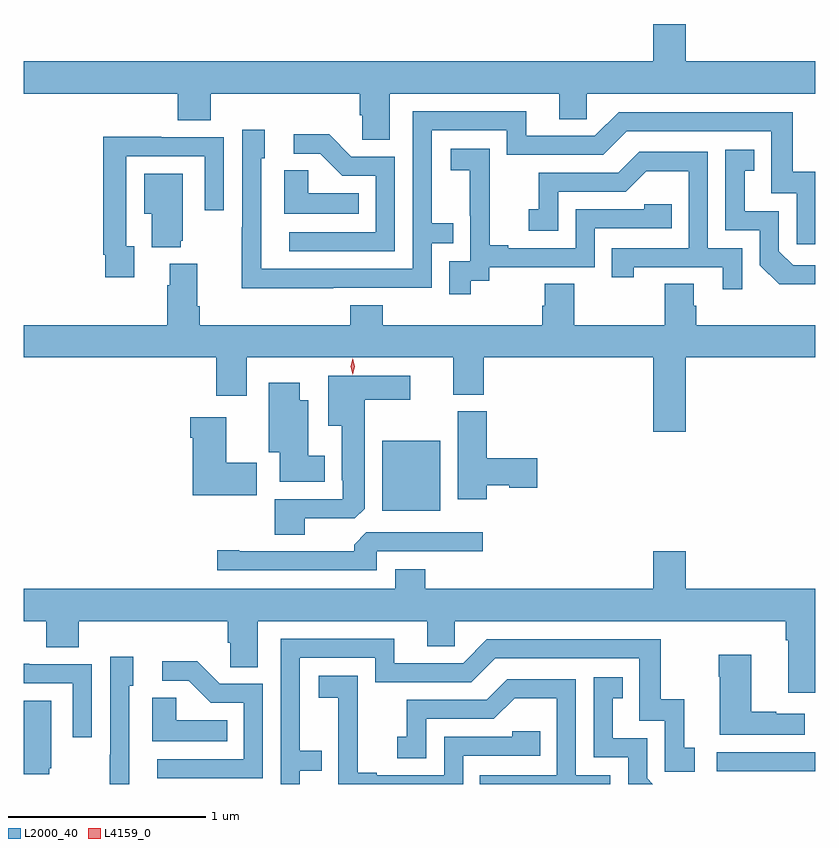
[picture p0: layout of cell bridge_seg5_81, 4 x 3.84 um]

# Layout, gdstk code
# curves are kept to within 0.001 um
import gdstk
lib = gdstk.Library(unit=1e-6, precision=1e-09)
def R(c, l, rs):  # rectangles x0, y0, x1, y1
    for r in rs: c.add(gdstk.rectangle(r[:2], r[2:], *l))
def P(c, l, *ps):  # polygons
    for p in ps: c.add(gdstk.Polygon(p, *l))
L2000_40 = (2000, 40)
L4159_0 = (4159, 0)

bridge_seg5_81 = lib.new_cell('bridge_seg5_81')
R(bridge_seg5_81, L2000_40, [(129.363,898.626,129.862,898.722), (127.673,899.942,127.966,900.295)])
P(bridge_seg5_81, L2000_40, [(127.711,902.048),(128.567,902.048),(128.567,901.921),(128.706,901.921),(128.706,902.048),(129.862,902.048),(129.862,902.212),(129.208,902.212),(129.208,902.401),(129.044,902.401),(129.044,902.212),(125.862,902.212),(125.862,902.048),(126.641,902.048),(126.641,901.915),(126.806,901.915),(126.806,902.048),(127.559,902.048),(127.559,901.939),(127.572,901.939),(127.572,901.816),(127.711,901.816)],
  [(127.427,901.068),(127.923,901.068),(127.923,901.293),(128.033,901.293),(128.033,901.394),(127.923,901.394),(127.923,901.863),(128.304,901.863),(128.304,901.74),(128.79,901.74),(128.91,901.86),(129.639,901.86),(129.639,901.545),(129.768,901.545),(129.768,901.287),(129.862,901.287),(129.862,901.654),(129.748,901.654),(129.748,901.956),(128.868,901.956),(128.748,901.836),(128.401,901.836),(128.401,901.959),(127.827,901.959),(127.827,901.164),(127.062,901.164),(127.062,901.722),(127.081,901.722),(127.081,901.867),(126.966,901.867),(126.966,901.373),(126.964,901.373),(126.964,901.067)],
  [(127.737,901.731),(127.518,901.731),(127.405,901.844),(127.227,901.844),(127.227,901.746),(127.361,901.746),(127.472,901.635),(127.641,901.635),(127.641,901.35),(127.203,901.35),(127.203,901.254),(127.737,901.254)],
  [(126.421,901.278),(126.381,901.278),(126.381,901.734),(126.777,901.734),(126.777,901.461),(126.873,901.461),(126.873,901.83),(126.557,901.83),(126.557,901.832),(126.265,901.832),(126.265,901.234),(126.273,901.234),(126.273,901.122),(126.421,901.122)],
  [(128.122,901.105),(128.214,901.105),(128.214,901.173),(128.748,901.173),(128.748,901.368),(129.137,901.368),(129.137,901.491),(128.997,901.491),(128.997,901.464),(128.652,901.464),(128.652,901.269),(128.311,901.269),(128.311,901.282),(128.216,901.282),(128.216,901.565),(128.217,901.565),(128.217,901.771),(128.019,901.771),(128.019,901.661),(128.117,901.661),(128.117,901.433),(128.118,901.433),(128.118,901.203),(128.013,901.203),(128.013,901.035),(128.122,901.035)],
  [(129.862,901.182),(129.75,901.182),(129.678,901.254),(129.678,901.455),(129.505,901.455),(129.505,901.659),(129.554,901.659),(129.554,901.765),(129.408,901.765),(129.408,901.359),(129.582,901.359),(129.582,901.182),(129.68,901.085),(129.862,901.085)],
  [(129.492,901.269),(129.318,901.269),(129.318,901.755),(128.972,901.755),(128.867,901.65),(128.464,901.65),(128.464,901.465),(128.415,901.465),(128.415,901.356),(128.562,901.356),(128.562,901.554),(128.904,901.554),(129.008,901.658),(129.222,901.658),(129.222,901.269),(128.833,901.269),(128.833,901.122),(128.944,901.122),(128.944,901.173),(129.395,901.173),(129.395,901.062),(129.492,901.062)],
  [(127.556,901.546),(127.299,901.546),(127.299,901.661),(127.178,901.661),(127.178,901.442),(127.556,901.442)],
  [(126.656,901.305),(126.667,901.305),(126.667,901.645),(126.47,901.645),(126.47,901.442),(126.509,901.442),(126.509,901.274),(126.656,901.274)],
  [(129.208,900.716),(129.862,900.716),(129.862,900.88),(129.26,900.88),(129.26,900.978),(129.247,900.978),(129.247,901.088),(129.1,901.088),(129.1,900.88),(128.643,900.88),(128.643,901.088),(128.495,901.088),(128.495,900.978),(128.483,900.978),(128.483,900.88),(127.676,900.88),(127.676,900.979),(127.511,900.979),(127.511,900.88),(126.752,900.88),(126.752,900.976),(126.739,900.976),(126.739,901.189),(126.599,901.189),(126.599,901.082),(126.587,901.082),(126.587,900.88),(125.862,900.88),(125.862,900.716),(126.836,900.716),(126.836,900.522),(126.988,900.522),(126.988,900.716),(128.033,900.716),(128.033,900.529),(128.186,900.529),(128.186,900.716),(129.044,900.716),(129.044,900.342),(129.208,900.342)],
  [(127.282,899.904),(127.536,899.904),(127.585,899.953),(127.585,900.503),(127.816,900.503),(127.816,900.625),(127.4,900.625),(127.4,900.371),(127.469,900.371),(127.469,900.097),(127.473,900.097),(127.473,900),(127.13,900),(127.13,899.821),(127.282,899.821)],
  [(127.384,900.22),(127.3,900.22),(127.3,900.499),(127.258,900.499),(127.258,900.589),(127.1,900.589),(127.1,900.236),(127.157,900.236),(127.157,900.089),(127.384,900.089)],
  [(128.201,900.071),(128.315,900.071),(128.315,900.059),(128.458,900.059),(128.458,900.206),(128.201,900.206),(128.201,900.444),(128.054,900.444),(128.054,900),(128.201,900)],
  [(127.039,900.183),(126.886,900.183),(126.886,900.415),(126.704,900.415),(126.704,900.311),(126.716,900.311),(126.716,900.02),(127.039,900.02)],
  [(127.647,899.736),(128.182,899.736),(128.182,899.832),(127.593,899.832),(127.532,899.77),(127.532,899.736),(126.952,899.736),(126.952,899.741),(126.84,899.741),(126.84,899.64),(127.647,899.64)],
  [(129.862,899.548),(129.208,899.548),(129.208,899.737),(129.044,899.737),(129.044,899.548),(127.892,899.548),(127.892,899.647),(127.739,899.647),(127.739,899.548),(125.862,899.548),(125.862,899.384),(125.975,899.384),(125.975,899.251),(126.14,899.251),(126.14,899.384),(126.893,899.384),(126.893,899.275),(126.906,899.275),(126.906,899.152),(127.045,899.152),(127.045,899.384),(127.901,899.384),(127.901,899.257),(128.04,899.257),(128.04,899.384),(129.713,899.384),(129.713,899.288),(129.725,899.288),(129.725,899.022),(129.862,899.022)],
  [(127.257,898.629),(127.367,898.629),(127.367,898.73),(127.257,898.73),(127.257,899.199),(127.638,899.199),(127.638,899.076),(128.124,899.076),(128.244,899.196),(128.973,899.196),(128.973,898.881),(129.102,898.881),(129.102,898.623),(129.253,898.623),(129.253,898.743),(129.2,898.743),(129.2,898.99),(129.082,898.99),(129.082,899.292),(128.202,899.292),(128.082,899.172),(127.735,899.172),(127.735,899.295),(127.161,899.295),(127.161,898.561),(127.257,898.561)],
  [(129.808,898.915),(129.665,898.915),(129.665,898.925),(129.538,898.925),(129.538,899.215),(129.373,899.215),(129.373,899.102),(129.38,899.102),(129.38,898.811),(129.808,898.811)],
  [(126.396,899.058),(126.415,899.058),(126.415,899.203),(126.3,899.203),(126.3,898.709),(126.298,898.709),(126.298,898.561),(126.396,898.561)],
  [(127.071,899.067),(126.852,899.067),(126.739,899.18),(126.561,899.18),(126.561,899.082),(126.695,899.082),(126.806,898.971),(126.975,898.971),(126.975,898.686),(126.537,898.686),(126.537,898.59),(127.071,898.59)],
  [(126.207,899.166),(125.891,899.166),(125.891,899.168),(125.862,899.168),(125.862,899.07),(126.111,899.07),(126.111,898.797),(126.207,898.797)],
  [(128.082,898.704),(128.471,898.704),(128.471,898.827),(128.331,898.827),(128.331,898.8),(127.986,898.8),(127.986,898.605),(127.645,898.605),(127.645,898.618),(127.55,898.618),(127.55,898.901),(127.551,898.901),(127.551,899.107),(127.353,899.107),(127.353,898.997),(127.451,898.997),(127.451,898.769),(127.452,898.769),(127.452,898.561),(128.082,898.561)],
  [(129.012,898.59),(129.012,898.791),(128.839,898.791),(128.839,898.995),(128.888,898.995),(128.888,899.101),(128.742,899.101),(128.742,898.695),(128.916,898.695),(128.916,898.561),(129.041,898.561)],
  [(128.826,898.605),(128.652,898.605),(128.652,899.091),(128.306,899.091),(128.201,898.986),(127.798,898.986),(127.798,898.801),(127.749,898.801),(127.749,898.692),(127.896,898.692),(127.896,898.89),(128.238,898.89),(128.342,898.994),(128.556,898.994),(128.556,898.605),(128.167,898.605),(128.167,898.561),(128.826,898.561)],
  [(126.89,898.882),(126.633,898.882),(126.633,898.997),(126.512,898.997),(126.512,898.778),(126.89,898.778)],
  [(125.99,898.641),(126.001,898.641),(126.001,898.981),(125.862,898.981),(125.862,898.61),(125.99,898.61)])
P(bridge_seg5_81, L4159_0, [(127.525,900.628),(127.525,900.629),(127.515,900.67),(127.525,900.711),(127.525,900.711),(127.525,900.711),(127.535,900.67),(127.525,900.629)])

lib.write_gds('bridge_seg5_81.gds')
